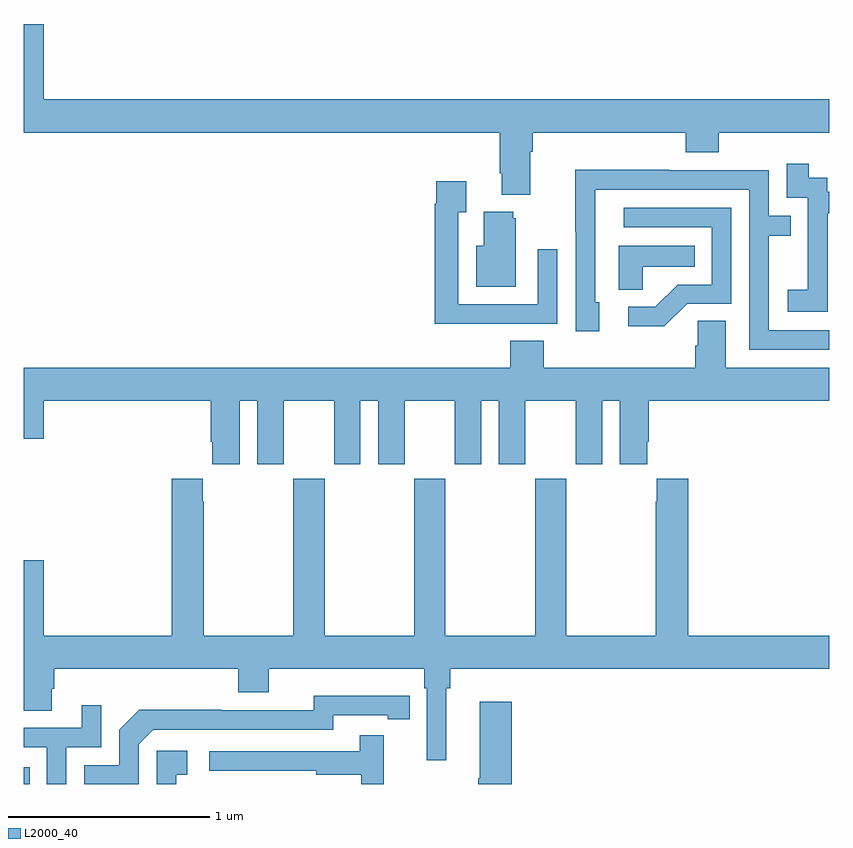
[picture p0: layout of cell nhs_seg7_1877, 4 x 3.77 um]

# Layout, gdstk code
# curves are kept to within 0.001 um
import gdstk
lib = gdstk.Library(unit=1e-6, precision=1e-09)
def R(c, l, rs):  # rectangles x0, y0, x1, y1
    for r in rs: c.add(gdstk.rectangle(r[:2], r[2:], *l))
def P(c, l, *ps):  # polygons
    for p in ps: c.add(gdstk.Polygon(p, *l))
L2000_40 = (2000, 40)

nhs_seg7_1877 = lib.new_cell('nhs_seg7_1877')
R(nhs_seg7_1877, L2000_40, [(237,1044,237.029,1044.084)])
P(nhs_seg7_1877, L2000_40, [(239.515,1047.14),(239.528,1047.14),(239.528,1047.236),(240.287,1047.236),(240.287,1047.137),(240.452,1047.137),(240.452,1047.236),(241,1047.236),(241,1047.4),(237.1,1047.4),(237.1,1047.775),(237,1047.775),(237,1047.236),(239.363,1047.236),(239.363,1047.034),(239.375,1047.034),(239.375,1046.927),(239.515,1046.927)],
  [(240.993,1046.551),(240.992,1046.551),(240.992,1046.835),(241,1046.835),(241,1046.943),(240.99,1046.943),(240.99,1047.012),(240.898,1047.012),(240.898,1047.082),(240.789,1047.082),(240.789,1046.913),(240.894,1046.913),(240.894,1046.684),(240.893,1046.684),(240.893,1046.455),(240.795,1046.455),(240.795,1046.345),(240.993,1046.345)],
  [(241,1046.253),(240.699,1046.253),(240.699,1046.722),(240.809,1046.722),(240.809,1046.823),(240.699,1046.823),(240.699,1047.048),(240.203,1047.048),(240.203,1047.05),(239.74,1047.05),(239.74,1046.743),(239.742,1046.743),(239.742,1046.25),(239.857,1046.25),(239.857,1046.394),(239.838,1046.394),(239.838,1046.952),(240.603,1046.952),(240.603,1046.157),(241,1046.157)],
  [(239.333,1046.286),(239.649,1046.286),(239.649,1046.656),(239.553,1046.656),(239.553,1046.382),(239.157,1046.382),(239.157,1046.839),(239.197,1046.839),(239.197,1046.995),(239.049,1046.995),(239.049,1046.882),(239.041,1046.882),(239.041,1046.285),(239.333,1046.285)],
  [(240.294,1046.385),(240.513,1046.385),(240.513,1046.862),(239.979,1046.862),(239.979,1046.766),(240.417,1046.766),(240.417,1046.481),(240.248,1046.481),(240.137,1046.37),(240.003,1046.37),(240.003,1046.273),(240.181,1046.273)],
  [(239.443,1046.811),(239.432,1046.811),(239.432,1046.842),(239.285,1046.842),(239.285,1046.674),(239.246,1046.674),(239.246,1046.471),(239.443,1046.471)],
  [(240.075,1046.57),(240.332,1046.57),(240.332,1046.674),(239.954,1046.674),(239.954,1046.455),(240.075,1046.455)],
  [(238.072,1045.904),(238.16,1045.904),(238.16,1045.587),(238.291,1045.587),(238.291,1045.904),(238.541,1045.904),(238.541,1045.587),(238.672,1045.587),(238.672,1045.904),(238.76,1045.904),(238.76,1045.587),(238.891,1045.587),(238.891,1045.904),(239.141,1045.904),(239.141,1045.587),(239.272,1045.587),(239.272,1045.904),(239.36,1045.904),(239.36,1045.587),(239.491,1045.587),(239.491,1045.904),(239.741,1045.904),(239.741,1045.587),(239.872,1045.587),(239.872,1045.904),(239.96,1045.904),(239.96,1045.587),(240.097,1045.587),(240.097,1045.699),(240.104,1045.699),(240.104,1045.904),(241,1045.904),(241,1046.068),(240.487,1046.068),(240.487,1046.3),(240.348,1046.3),(240.348,1046.177),(240.335,1046.177),(240.335,1046.068),(239.582,1046.068),(239.582,1046.201),(239.417,1046.201),(239.417,1046.068),(237,1046.068),(237,1045.716),(237.1,1045.716),(237.1,1045.904),(237.929,1045.904),(237.929,1045.699),(237.935,1045.699),(237.935,1045.587),(238.072,1045.587)],
  [(239.098,1044.476),(239.117,1044.476),(239.117,1044.572),(241,1044.572),(241,1044.736),(240.299,1044.736),(240.299,1045.516),(240.143,1045.516),(240.143,1045.403),(240.139,1045.403),(240.139,1044.736),(239.694,1044.736),(239.694,1045.516),(239.539,1045.516),(239.539,1044.736),(239.094,1044.736),(239.094,1045.516),(238.939,1045.516),(238.939,1044.736),(238.494,1044.736),(238.494,1045.516),(238.339,1045.516),(238.339,1044.736),(237.894,1044.736),(237.894,1045.403),(237.889,1045.403),(237.889,1045.516),(237.734,1045.516),(237.734,1044.736),(237.1,1044.736),(237.1,1045.111),(237,1045.111),(237,1044.364),(237.139,1044.364),(237.139,1044.474),(237.152,1044.474),(237.152,1044.572),(238.064,1044.572),(238.064,1044.455),(238.216,1044.455),(238.216,1044.572),(238.988,1044.572),(238.988,1044.476),(239.001,1044.476),(239.001,1044.117),(239.098,1044.117)],
  [(237.57,1044.198),(237.642,1044.27),(238.536,1044.27),(238.536,1044.342),(238.808,1044.342),(238.808,1044.322),(238.916,1044.322),(238.916,1044.438),(238.44,1044.439),(238.44,1044.366),(237.98,1044.366),(237.98,1044.368),(237.572,1044.368),(237.474,1044.27),(237.474,1044.093),(237.3,1044.093),(237.3,1044),(237.57,1044)],
  [(239.423,1044.409),(239.264,1044.409),(239.264,1044.029),(239.257,1044.029),(239.257,1044),(239.423,1044)],
  [(237.21,1044.183),(237.384,1044.183),(237.384,1044.391),(237.287,1044.391),(237.287,1044.279),(237,1044.279),(237,1044.183),(237.114,1044.183),(237.114,1044),(237.21,1044)],
  [(238.787,1044.241),(238.669,1044.241),(238.669,1044.162),(237.921,1044.162),(237.921,1044.066),(238.453,1044.066),(238.453,1044.046),(238.677,1044.046),(238.677,1044),(238.787,1044)],
  [(237.758,1044.045),(237.811,1044.045),(237.811,1044.166),(237.66,1044.166),(237.66,1044),(237.758,1044)])

lib.write_gds('nhs_seg7_1877.gds')
